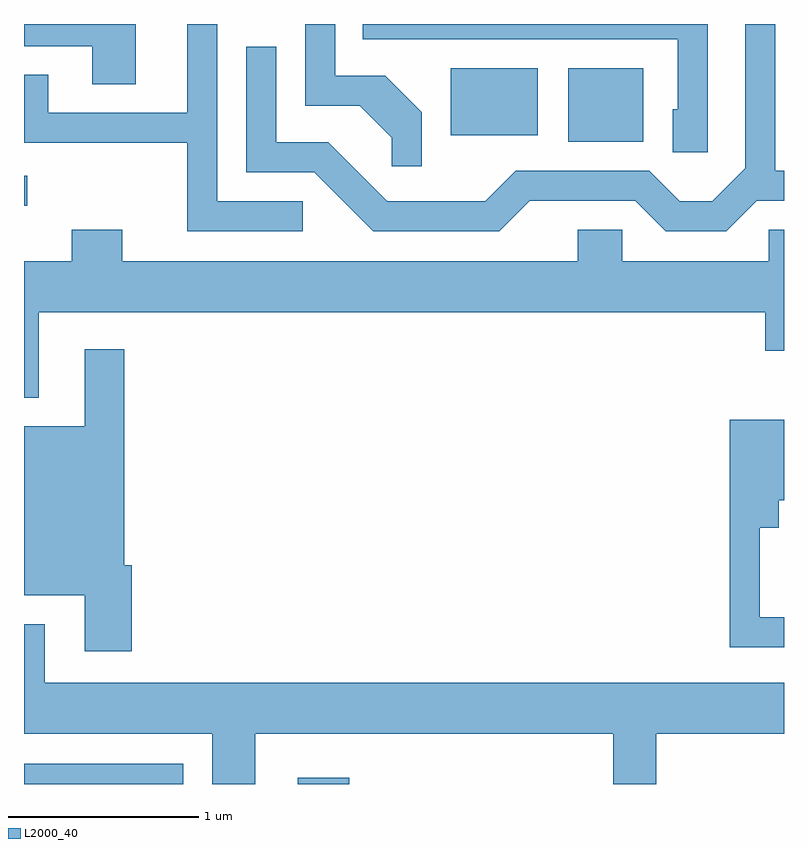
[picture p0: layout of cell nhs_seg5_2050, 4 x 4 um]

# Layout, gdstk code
import gdstk
lib = gdstk.Library(unit=1e-6, precision=1e-09)
def R(c, l, rs):  # rectangles x0, y0, x1, y1
    for r in rs: c.add(gdstk.rectangle(r[:2], r[2:], *l))
def P(c, l, *ps):  # polygons
    for p in ps: c.add(gdstk.Polygon(p, *l))
L2000_40 = (2000, 40)

nhs_seg5_2050 = lib.new_cell('nhs_seg5_2050')
R(nhs_seg5_2050, L2000_40, [(245.611,1472.072,246.449,1472.179), (247.053,1472.072,247.324,1472.104), (245.611,1475.116,245.628,1475.274), (248.476,1475.451,248.869,1475.839), (247.856,1475.486,248.314,1475.839)])
P(nhs_seg5_2050, L2000_40, [(246.199,1476.072),(245.611,1476.072),(245.611,1475.956),(245.971,1475.956),(245.971,1475.756),(246.199,1475.756)],
  [(249.209,1476.072),(247.393,1476.072),(247.393,1475.991),(249.051,1475.991),(249.051,1475.624),(249.026,1475.624),(249.026,1475.396),(249.209,1475.396)],
  [(248.272,1475.141),(248.829,1475.141),(248.989,1474.981),(249.307,1474.981),(249.467,1475.141),(249.611,1475.141),(249.611,1475.299),(249.564,1475.299),(249.564,1476.072),(249.406,1476.072),(249.406,1475.312),(249.234,1475.139),(249.062,1475.139),(248.902,1475.299),(248.199,1475.299),(248.039,1475.139),(247.522,1475.139),(247.212,1475.449),(246.939,1475.449),(246.939,1475.953),(246.781,1475.953),(246.781,1475.291),(247.139,1475.291),(247.449,1474.981),(248.112,1474.981)],
  [(247.078,1475.139),(246.629,1475.139),(246.629,1476.072),(246.471,1476.072),(246.471,1475.604),(245.739,1475.604),(245.739,1475.804),(245.611,1475.804),(245.611,1475.446),(246.471,1475.446),(246.471,1474.981),(247.078,1474.981)],
  [(247.704,1475.607),(247.512,1475.799),(247.249,1475.799),(247.249,1476.072),(247.091,1476.072),(247.091,1475.641),(247.379,1475.641),(247.546,1475.474),(247.546,1475.323),(247.704,1475.323)],
  [(245.689,1474.556),(249.511,1474.556),(249.511,1474.351),(249.611,1474.351),(249.611,1474.989),(249.531,1474.989),(249.531,1474.824),(248.759,1474.824),(248.759,1474.989),(248.526,1474.989),(248.526,1474.824),(246.129,1474.824),(246.129,1474.989),(245.861,1474.989),(245.861,1474.824),(245.611,1474.824),(245.611,1474.106),(245.689,1474.106)],
  [(246.179,1473.224),(246.139,1473.224),(246.139,1474.359),(245.931,1474.359),(245.931,1473.954),(245.611,1473.954),(245.611,1473.066),(245.931,1473.066),(245.931,1472.771),(246.179,1472.771)],
  [(249.611,1472.949),(249.484,1472.949),(249.484,1473.421),(249.584,1473.421),(249.584,1473.566),(249.611,1473.566),(249.611,1473.989),(249.326,1473.989),(249.326,1472.791),(249.611,1472.791)],
  [(246.829,1472.336),(248.711,1472.336),(248.711,1472.072),(248.939,1472.072),(248.939,1472.336),(249.611,1472.336),(249.611,1472.604),(245.719,1472.604),(245.719,1472.914),(245.611,1472.914),(245.611,1472.336),(246.601,1472.336),(246.601,1472.072),(246.829,1472.072)])

lib.write_gds('nhs_seg5_2050.gds')
